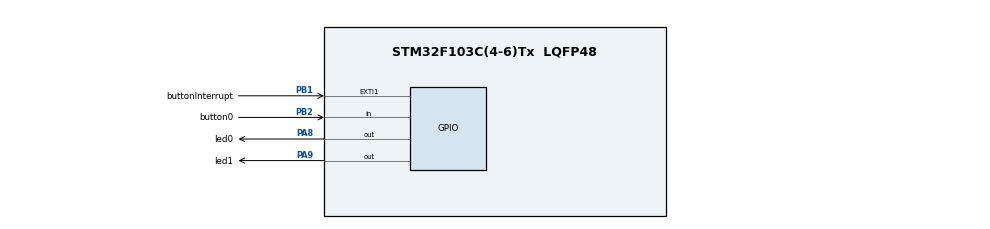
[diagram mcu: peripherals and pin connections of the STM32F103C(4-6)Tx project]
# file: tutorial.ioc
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Mcu.Family=STM32F1
Mcu.Name=STM32F103C(4-6)Tx
Mcu.Package=LQFP48
NVIC.EXTI1_IRQn=true\:2\:0\:true\:false\:true\:true\:true\:true
NVIC.PriorityGroup=NVIC_PRIORITYGROUP_4
PA8.GPIO_Label=led0
PA8.Signal=GPIO_Output
PA9.GPIO_Label=led1
PA9.Signal=GPIO_Output
PB1.GPIO_Label=buttonInterrupt
PB1.Signal=GPXTI1
PB2.GPIO_Label=button0
PB2.GPIO_PuPd=GPIO_PULLDOWN
PB2.Signal=GPIO_Input
ProjectManager.HeapSize=0x200
ProjectManager.StackSize=0x400
ProjectManager.TargetToolchain=MDK-ARM V5.32
RCC.APB1Freq_Value=8000000
RCC.APB2Freq_Value=8000000
VP_SYS_VS_ND.Mode=No_Debug
board=custom

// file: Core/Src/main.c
/* USER CODE BEGIN Header */
/**
  ******************************************************************************
  * @file           : main.c
  * @brief          : Main program body
  ******************************************************************************
  * @attention
  *
  * Copyright (c) 2025 STMicroelectronics.
  * All rights reserved.
  *
  * This software is licensed under terms that can be found in the LICENSE file
  * in the root directory of this software component.
  * If no LICENSE file comes with this software, it is provided AS-IS.
  *
  ******************************************************************************
  */
/* USER CODE END Header */
#include "main.h"

/* USER CODE BEGIN PV */
uint16_t counter = 0;
/* USER CODE END PV */

void SystemClock_Config(void);
static void MX_GPIO_Init(void);

/* USER CODE BEGIN 0 */

void update_leds(uint16_t value){

	GPIO_PinState led0_value, led1_value;
	led0_value = (value & (uint16_t) 1) ? GPIO_PIN_SET : GPIO_PIN_RESET;
	led1_value = (value & (uint16_t) 2) ? GPIO_PIN_SET : GPIO_PIN_RESET;

	HAL_GPIO_WritePin(led0_GPIO_Port,led0_Pin,led0_value);
	HAL_GPIO_WritePin(led1_GPIO_Port,led1_Pin,led1_value);
}

/* USER CODE END 0 */

int main(void)
{

  /* MCU Configuration--------------------------------------------------------*/

  /* Reset of all peripherals, Initializes the Flash interface and the Systick. */
  HAL_Init();

  /* Configure the system clock */
  SystemClock_Config();

  /* Initialize all configured peripherals */
  MX_GPIO_Init();
  /* USER CODE BEGIN 2 */
	GPIO_PinState button0_state = GPIO_PIN_RESET;
	GPIO_PinState button0_prevState = GPIO_PIN_RESET;
  /* USER CODE END 2 */

  /* Infinite loop */
  /* USER CODE BEGIN WHILE */
  while (1)
  {
		button0_prevState = button0_state;
		button0_state = HAL_GPIO_ReadPin(button0_GPIO_Port,button0_Pin);

		if(button0_prevState == button0_state ||button0_state == GPIO_PIN_RESET) continue;

		button0_prevState = button0_state;
		counter++;

		update_leds(counter);
    /* USER CODE END WHILE */

  }
}

void SystemClock_Config(void)
{
  RCC_OscInitTypeDef RCC_OscInitStruct = {0};
  RCC_ClkInitTypeDef RCC_ClkInitStruct = {0};

  /** Initializes the RCC Oscillators according to the specified parameters
  * in the RCC_OscInitTypeDef structure.
  */
  RCC_OscInitStruct.OscillatorType = RCC_OSCILLATORTYPE_HSI;
  RCC_OscInitStruct.HSIState = RCC_HSI_ON;
  RCC_OscInitStruct.HSICalibrationValue = RCC_HSICALIBRATION_DEFAULT;
  RCC_OscInitStruct.PLL.PLLState = RCC_PLL_NONE;
  if (HAL_RCC_OscConfig(&RCC_OscInitStruct) != HAL_OK)
  {
    Error_Handler();
  }

  /** Initializes the CPU, AHB and APB buses clocks
  */
  RCC_ClkInitStruct.ClockType = RCC_CLOCKTYPE_HCLK|RCC_CLOCKTYPE_SYSCLK
                              |RCC_CLOCKTYPE_PCLK1|RCC_CLOCKTYPE_PCLK2;
  RCC_ClkInitStruct.SYSCLKSource = RCC_SYSCLKSOURCE_HSI;
  RCC_ClkInitStruct.AHBCLKDivider = RCC_SYSCLK_DIV1;
  RCC_ClkInitStruct.APB1CLKDivider = RCC_HCLK_DIV1;
  RCC_ClkInitStruct.APB2CLKDivider = RCC_HCLK_DIV1;

  if (HAL_RCC_ClockConfig(&RCC_ClkInitStruct, FLASH_LATENCY_0) != HAL_OK)
  {
    Error_Handler();
  }
}

static void MX_GPIO_Init(void)
{
  GPIO_InitTypeDef GPIO_InitStruct = {0};

  /* GPIO Ports Clock Enable */
  __HAL_RCC_GPIOB_CLK_ENABLE();
  __HAL_RCC_GPIOA_CLK_ENABLE();

  /*Configure GPIO pin Output Level */
  HAL_GPIO_WritePin(GPIOA, led0_Pin|led1_Pin, GPIO_PIN_RESET);

  /*Configure GPIO pin : buttonInterrupt_Pin */
  GPIO_InitStruct.Pin = buttonInterrupt_Pin;
  GPIO_InitStruct.Mode = GPIO_MODE_IT_RISING;
  GPIO_InitStruct.Pull = GPIO_NOPULL;
  HAL_GPIO_Init(buttonInterrupt_GPIO_Port, &GPIO_InitStruct);

  /*Configure GPIO pin : button0_Pin */
  GPIO_InitStruct.Pin = button0_Pin;
  GPIO_InitStruct.Mode = GPIO_MODE_INPUT;
  GPIO_InitStruct.Pull = GPIO_PULLDOWN;
  HAL_GPIO_Init(button0_GPIO_Port, &GPIO_InitStruct);

  /*Configure GPIO pins : led0_Pin led1_Pin */
  GPIO_InitStruct.Pin = led0_Pin|led1_Pin;
  GPIO_InitStruct.Mode = GPIO_MODE_OUTPUT_PP;
  GPIO_InitStruct.Pull = GPIO_NOPULL;
  GPIO_InitStruct.Speed = GPIO_SPEED_FREQ_LOW;
  HAL_GPIO_Init(GPIOA, &GPIO_InitStruct);

  /* EXTI interrupt init*/
  HAL_NVIC_SetPriority(EXTI1_IRQn, 2, 0);
  HAL_NVIC_EnableIRQ(EXTI1_IRQn);

}

void Error_Handler(void)
{
  __disable_irq();
  while (1)
  {
  }
}
